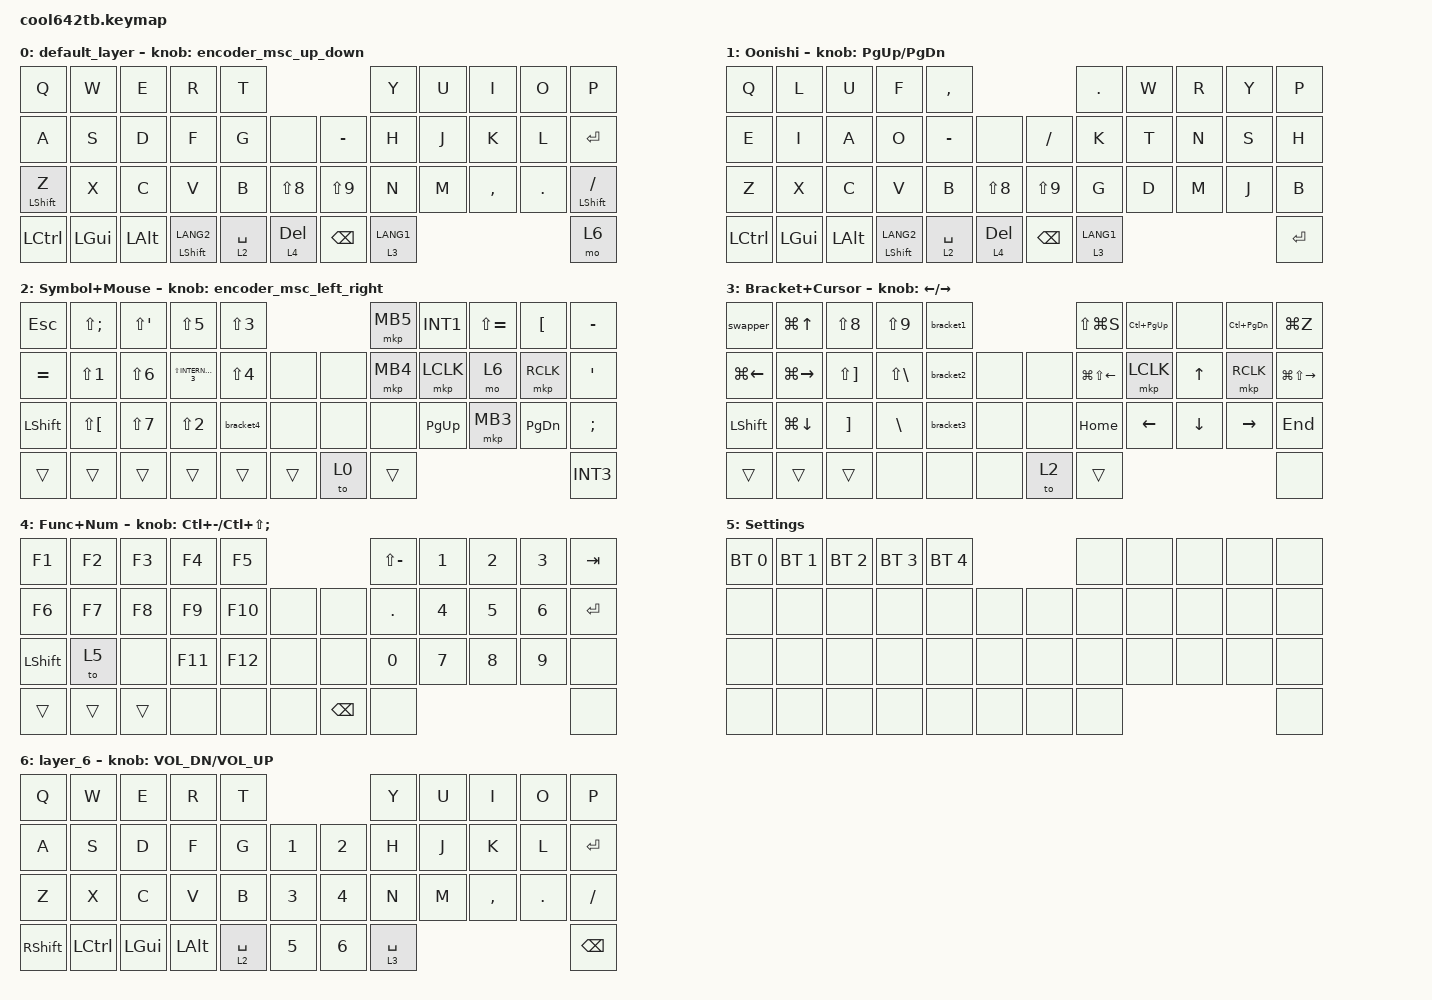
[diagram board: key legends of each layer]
#include <behaviors.dtsi>
#include <dt-bindings/zmk/bt.h>
#include <dt-bindings/zmk/keys.h>
#include <dt-bindings/zmk/pointing.h>

#define MOUSE 4
#define SCROLL 5
#define NUM 6
#define ZMK_POINTING_DEFAULT_SCRL_VAL 80

&mt {
    flavor = "balanced";
    quick-tap-ms = <0>;
};

&lt {
};

/ {
    combos {
        compatible = "zmk,combos";

        comb1 {
            bindings = <&kp TAB>;
            key-positions = <0 1>;
        };

        comb3 {
            bindings = <&kp LS(INT1)>;
            key-positions = <32 33>;
        };

        minus {
            bindings = <&kp MINUS>;
            key-positions = <20 19>;
        };

        qwerty {
            bindings = <&to 0>;
            key-positions = <0 4 26 22>;
        };

        o24 {
            bindings = <&to 1>;
            key-positions = <5 9 33 29>;
        };

        select_line_combo {
            bindings = <&select_line>;
            key-positions = <22 26>;
        };

        shift_tab {
            bindings = <&kp LS(TAB)>;
            key-positions = <2 0>;
        };
    };

    macros {
        to_layer_0: to_layer_0 {
            compatible = "zmk,behavior-macro-one-param";
            #binding-cells = <1>;
            bindings = <&to 0 &macro_param_1to1 &kp MACRO_PLACEHOLDER>;
            label = "TO_LAYER_0";
        };

        bracket1: bracket1 {
            compatible = "zmk,behavior-macro";
            #binding-cells = <0>;
            bindings = <&kp LS(N8) &kp LS(N9) &kp LEFT>;
            label = "BRACKET1";
        };

        bracket2: bracket2 {
            compatible = "zmk,behavior-macro";
            #binding-cells = <0>;
            bindings = <&kp LS(RBKT) &kp LS(BACKSLASH) &kp LEFT>;
            label = "BRACKET2";
        };

        bracket3: bracket3 {
            compatible = "zmk,behavior-macro";
            #binding-cells = <0>;
            bindings = <&kp RIGHT_BRACKET &kp BACKSLASH &kp LEFT>;
            label = "BRACKET3";
        };

        bracket4: bracket4 {
            compatible = "zmk,behavior-macro";
            #binding-cells = <0>;
            bindings = <&kp LS(NUMBER_2) &kp LS(NUMBER_2) &kp LEFT>;
            label = "BRACKET4";
        };

        select_line: select_line {
            compatible = "zmk,behavior-macro";
            #binding-cells = <0>;
            bindings =
                <&kp HOME>,
                <&macro_press>,
                <&kp LEFT_SHIFT>,
                <&macro_tap>,
                <&kp END>,
                <&macro_release>,
                <&kp LEFT_SHIFT>;

            label = "SELECT_LINE";
        };
    };

    behaviors {
        lt_to_layer_0: lt_to_layer_0 {
            compatible = "zmk,behavior-hold-tap";
            label = "LAYER_TAP_TO_0";
            bindings = <&mo>, <&to_layer_0>;

            #binding-cells = <2>;
            tapping-term-ms = <200>;
        };

        encoder_msc_up_down: encoder_msc_up_down {
            compatible = "zmk,behavior-sensor-rotate";
            label = "ENCODER_MSC_UP_DOWN";
            #sensor-binding-cells = <0>;
            bindings = <&msc SCRL_UP>, <&msc SCRL_DOWN>;

            tap-ms = <20>;
        };

        encoder_msc_left_right: encoder_msc_left_right {
            compatible = "zmk,behavior-sensor-rotate";
            label = "ENCODER_MSC_LEFT_RIGHT";
            #sensor-binding-cells = <0>;
            bindings = <&msc SCRL_LEFT>, <&msc SCRL_RIGHT>;

            tap-ms = <20>;
        };

        rot_kp: sensor_rotate_kp {
            compatible = "zmk,behavior-sensor-rotate-var";
            #sensor-binding-cells = <2>;
            bindings = <&kp>, <&kp>;
        };

        swapper: swapper {
            compatible = "zmk,behavior-tri-state";
            label = "SWAPPER";
            #binding-cells = <0>;
            bindings = <&kt LALT>, <&kp TAB>, <&kt LALT>;

            ignored-key-positions = <0 1 2 19 30 31 32 41>;  // Shift+Tabなどを許可
        };
    };

    keymap {
        compatible = "zmk,keymap";

        default_layer {
            bindings = <
&kp Q             &kp W         &kp E         &kp R                 &kp T                                   &kp Y        &kp U  &kp I      &kp O       &kp P
&kp A             &kp S         &kp D         &kp F                 &kp G        &none       &kp MINUS      &kp H        &kp J  &kp K      &kp L       &kp ENTER
&mt LEFT_SHIFT Z  &kp X         &kp C         &kp V                 &kp B        &kp LS(N8)  &kp LS(N9)     &kp N        &kp M  &kp COMMA  &kp PERIOD  &mt LSHIFT SLASH
&kp LEFT_CONTROL  &kp LEFT_GUI  &kp LEFT_ALT  &mt LEFT_SHIFT LANG2  &lt 2 SPACE  &lt 4 DEL   &kp BACKSPACE  &lt 3 LANG1                                &mo 6
            >;

            sensor-bindings = <&encoder_msc_up_down>;
        };

        Oonishi {
            bindings = <
&kp Q      &kp L         &kp U         &kp F                 &kp COMMA                               &kp PERIOD   &kp W  &kp R  &kp Y  &kp P
&kp E      &kp I         &kp A         &kp O                 &kp MINUS    &none       &kp SLASH      &kp K        &kp T  &kp N  &kp S  &kp H
&kp Z      &kp X         &kp C         &kp V                 &kp B        &kp LS(N8)  &kp LS(N9)     &kp G        &kp D  &kp M  &kp J  &kp B
&kp LCTRL  &kp LEFT_GUI  &kp LEFT_ALT  &mt LEFT_SHIFT LANG2  &lt 2 SPACE  &lt 4 DEL   &kp BACKSPACE  &lt 3 LANG1                       &kp ENTER
            >;

            sensor-bindings = <&inc_dec_kp PG_UP PAGE_DOWN>;
        };

        Symbol+Mouse {
            bindings = <
&kp ESC    &kp LS(SEMI)          &kp LS(SQT)  &kp LS(N5)               &kp LS(NUMBER_3)                 &mkp MB5  &kp INT1   &kp LS(EQUAL)  &kp LEFT_BRACKET  &kp MINUS
&kp EQUAL  &kp LS(N1)            &kp LS(N6)   &kp LS(INTERNATIONAL_3)  &kp LS(N4)        &none   &none  &mkp MB4  &mkp LCLK  &mo 6          &mkp RCLK         &kp SINGLE_QUOTE
&kp LSHFT  &kp LS(LEFT_BRACKET)  &kp LS(N7)   &kp LS(N2)               &bracket4         &none   &none  &none     &kp PG_UP  &mkp MB3       &kp PG_DN         &kp SEMI
&trans     &trans                &trans       &trans                   &trans            &trans  &to 0  &trans                                                &kp INT3
            >;

            sensor-bindings = <&encoder_msc_left_right>;
        };

        Bracket+Cursor {
            bindings = <
&swapper        &kp LG(UP_ARROW)  &kp LS(N8)             &kp LS(N9)         &bracket1                &kp LS(LG(S))     &kp LC(PAGE_UP)  &none         &kp LC(PAGE_DOWN)  &kp LG(Z)
&kp LG(LEFT)    &kp LG(RIGHT)     &kp LS(RIGHT_BRACKET)  &kp LS(BACKSLASH)  &bracket2  &none  &none  &kp LG(LS(LEFT))  &mkp LCLK        &kp UP_ARROW  &mkp RCLK          &kp LG(LS(RIGHT))
&kp LEFT_SHIFT  &kp LG(DOWN)      &kp RIGHT_BRACKET      &kp BACKSLASH      &bracket3  &none  &none  &kp HOME          &kp LEFT         &kp DOWN      &kp RIGHT          &kp END
&trans          &trans            &trans                 &none              &none      &none  &to 2  &trans                                                              &none
            >;

            sensor-bindings = <&rot_kp LEFT RIGHT>;
        };

        Func+Num {
            bindings = <
&kp F1          &kp F2  &kp F3  &kp F4   &kp F5                         &kp LS(MINUS)  &kp N1  &kp N2  &kp N3  &kp TAB
&kp F6          &kp F7  &kp F8  &kp F9   &kp F10  &none  &none          &kp PERIOD     &kp N4  &kp N5  &kp N6  &kp ENTER
&kp LEFT_SHIFT  &to 5   &none   &kp F11  &kp F12  &none  &none          &kp N0         &kp N7  &kp N8  &kp N9  &none
&trans          &trans  &trans  &none    &none    &none  &kp BACKSPACE  &none                                  &none
            >;

            sensor-bindings = <&rot_kp LC(MINUS) LC(LS(SEMI))>;
        };

        Settings {
            bindings = <
&bt BT_SEL 0  &bt BT_SEL 1  &bt BT_SEL 2  &bt BT_SEL 3  &bt BT_SEL 4                &none  &none  &none  &none  &none
&none         &none         &none         &none         &none         &none  &none  &none  &none  &none  &none  &none
&none         &none         &none         &none         &none         &none  &none  &none  &none  &none  &none  &none
&none         &none         &none         &none         &none         &none  &none  &none                       &none
            >;
        };

        layer_6 {
            bindings = <
&kp Q       &kp W      &kp E     &kp R     &kp T                        &kp Y        &kp U  &kp I      &kp O       &kp P
&kp A       &kp S      &kp D     &kp F     &kp G        &kp N1  &kp N2  &kp H        &kp J  &kp K      &kp L       &kp ENTER
&kp Z       &kp X      &kp C     &kp V     &kp B        &kp N3  &kp N4  &kp N        &kp M  &kp COMMA  &kp PERIOD  &kp SLASH
&kp RSHIFT  &kp LCTRL  &kp LGUI  &kp LALT  &lt 2 SPACE  &kp N5  &kp N6  &lt 3 SPACE                                &kp BSPC
            >;

            sensor-bindings = <&inc_dec_kp C_VOL_DN C_VOL_UP>;
        };
    };
};
